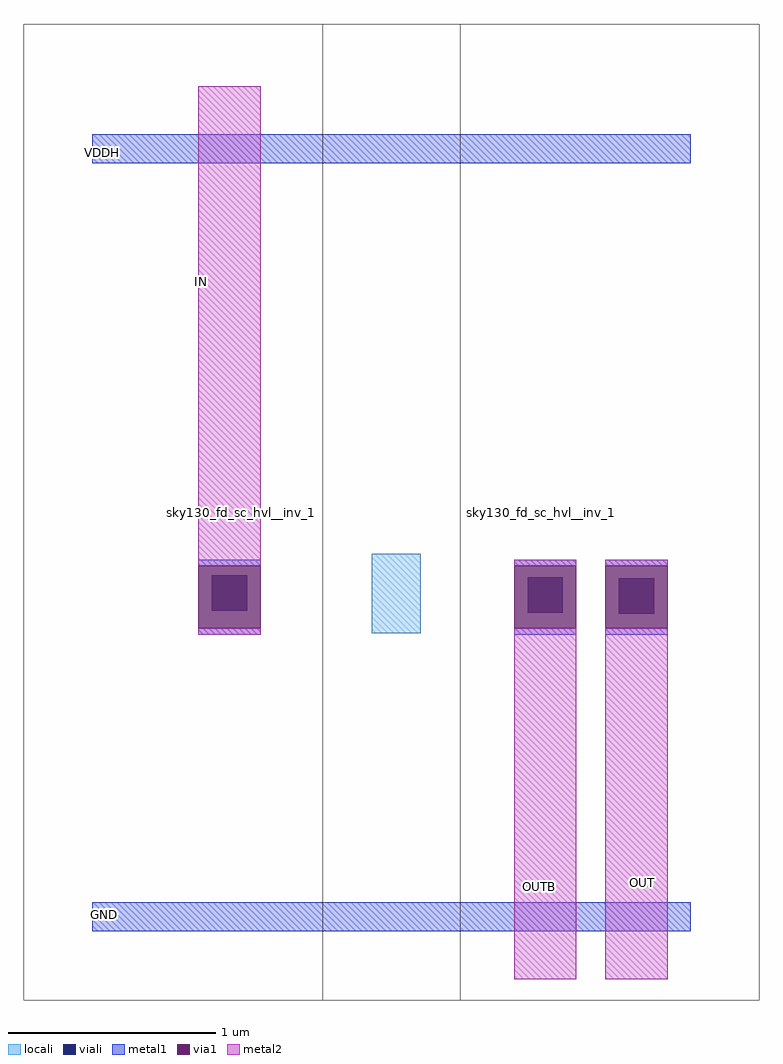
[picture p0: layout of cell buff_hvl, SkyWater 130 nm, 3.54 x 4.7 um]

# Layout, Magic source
magic
tech sky130A
magscale 1 2
<< locali >>
rect 239 303 286 380
<< viali >>
rect 85 325 119 359
rect 389 323 423 357
rect 477 322 511 356
<< metal1 >>
rect -30 756 546 784
rect 72 368 132 374
rect 72 302 132 308
rect 376 368 436 374
rect 376 302 436 308
rect 464 368 524 374
rect 464 302 524 308
rect -30 16 546 44
<< via1 >>
rect 72 359 132 368
rect 72 325 85 359
rect 85 325 119 359
rect 119 325 132 359
rect 72 308 132 325
rect 376 357 436 368
rect 376 323 389 357
rect 389 323 423 357
rect 423 323 436 357
rect 376 308 436 323
rect 464 356 524 368
rect 464 322 477 356
rect 477 322 511 356
rect 511 322 524 356
rect 464 308 524 322
<< metal2 >>
rect 72 368 132 830
rect 72 302 132 308
rect 376 368 436 374
rect 376 -30 436 308
rect 464 368 524 374
rect 464 -30 524 308
use sky130_fd_sc_hvl__inv_1  sky130_fd_sc_hvl__inv_1_0 $PDKPATH/libs.ref/sky130_fd_sc_hvl/mag
transform 1 0 -30 0 1 -7
box -66 -43 354 897
use sky130_fd_sc_hvl__inv_1  sky130_fd_sc_hvl__inv_1_1
transform 1 0 258 0 1 -7
box -66 -43 354 897
<< labels >>
flabel metal1 s -20 766 -20 766 3 FreeSans 320 0 0 0 VDDH
port 3 e
flabel metal1 s -18 32 -18 32 3 FreeSans 320 0 0 0 GND
port 4 e
flabel metal2 s 401 59 401 59 7 FreeSans 320 270 0 0 OUTB
port 1 w
flabel metal2 s 500 63 500 63 7 FreeSans 320 270 0 0 OUT
port 2 w
flabel metal2 s 75 642 75 642 3 FreeSans 320 0 0 0 IN
port 0 e
<< end >>
